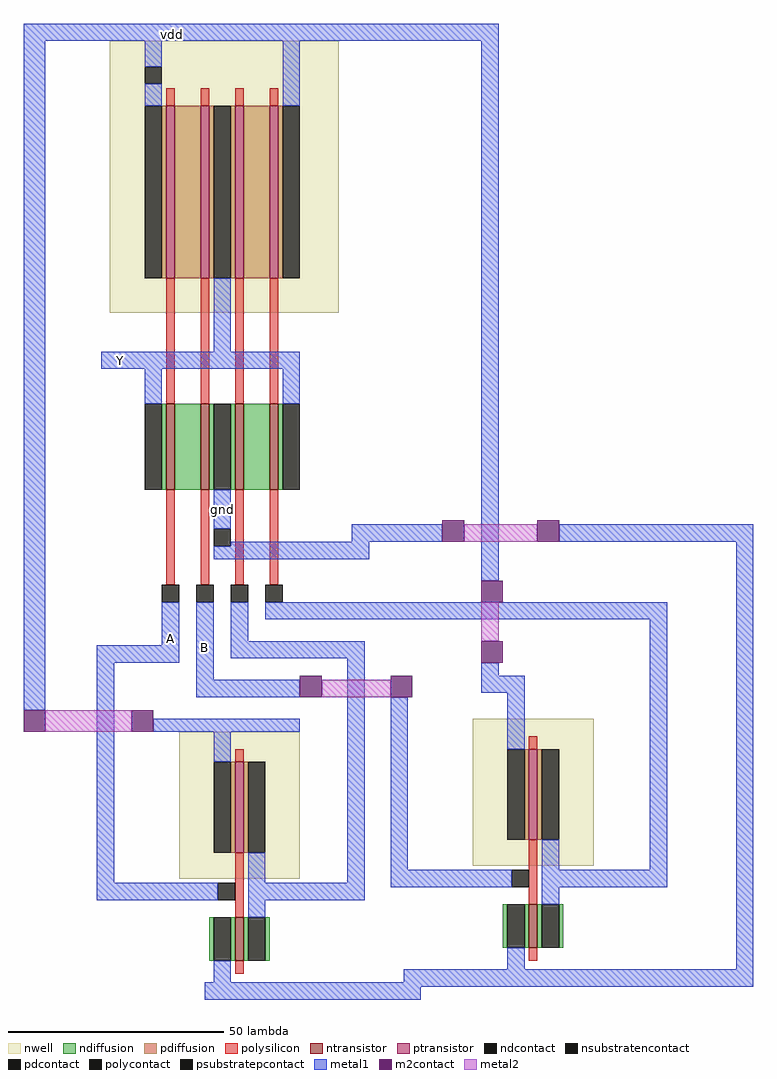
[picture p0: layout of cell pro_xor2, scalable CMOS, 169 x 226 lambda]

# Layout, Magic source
magic
tech scmos
<< nwell >>
rect -8 -8 45 55
rect 8 -139 36 -105
rect 76 -136 104 -102
<< ntransistor >>
rect 5 -49 7 -29
rect 13 -49 15 -29
rect 21 -49 23 -29
rect 29 -49 31 -29
rect 21 -158 23 -148
rect 89 -155 91 -145
<< ptransistor >>
rect 5 0 7 40
rect 13 0 15 40
rect 21 0 23 40
rect 29 0 31 40
rect 21 -133 23 -112
rect 89 -130 91 -109
<< ndiffusion >>
rect 4 -49 5 -29
rect 7 -49 13 -29
rect 15 -49 16 -29
rect 20 -49 21 -29
rect 23 -49 29 -29
rect 31 -49 32 -29
rect 15 -158 16 -148
rect 20 -158 21 -148
rect 23 -158 24 -148
rect 28 -158 29 -148
rect 83 -155 84 -145
rect 88 -155 89 -145
rect 91 -155 92 -145
rect 96 -155 97 -145
<< pdiffusion >>
rect 4 0 5 40
rect 7 0 13 40
rect 15 0 16 40
rect 20 0 21 40
rect 23 0 29 40
rect 31 0 32 40
rect 20 -133 21 -112
rect 23 -133 24 -112
rect 88 -130 89 -109
rect 91 -130 92 -109
<< ndcontact >>
rect 0 -49 4 -29
rect 16 -49 20 -29
rect 32 -49 36 -29
rect 16 -158 20 -148
rect 24 -158 28 -148
rect 84 -155 88 -145
rect 92 -155 96 -145
<< pdcontact >>
rect 0 0 4 40
rect 16 0 20 40
rect 32 0 36 40
rect 16 -133 20 -112
rect 24 -133 28 -112
rect 84 -130 88 -109
rect 92 -130 96 -109
<< psubstratepcontact >>
rect 16 -62 20 -58
<< nsubstratencontact >>
rect 0 45 4 49
<< polysilicon >>
rect 5 40 7 44
rect 13 40 15 44
rect 21 40 23 44
rect 29 40 31 44
rect 5 -29 7 0
rect 13 -29 15 0
rect 21 -29 23 0
rect 29 -29 31 0
rect 5 -71 7 -49
rect 13 -71 15 -49
rect 21 -71 23 -49
rect 29 -71 31 -49
rect 89 -109 91 -106
rect 21 -112 23 -109
rect 21 -148 23 -133
rect 89 -145 91 -130
rect 89 -158 91 -155
rect 21 -161 23 -158
<< polycontact >>
rect 4 -75 8 -71
rect 12 -75 16 -71
rect 20 -75 24 -71
rect 28 -75 32 -71
rect 17 -144 21 -140
rect 85 -141 89 -137
<< metal1 >>
rect -28 55 82 59
rect -28 -100 -23 55
rect 0 49 4 55
rect 0 40 4 45
rect 32 40 36 55
rect 16 -17 20 0
rect -10 -21 36 -17
rect 0 -29 4 -21
rect 32 -29 36 -21
rect 16 -58 20 -49
rect 48 -61 69 -57
rect 20 -62 52 -61
rect 16 -65 52 -62
rect 78 -70 82 55
rect 96 -61 141 -57
rect 4 -85 8 -75
rect -11 -89 8 -85
rect -11 -140 -7 -89
rect 12 -93 16 -75
rect 20 -84 24 -75
rect 28 -79 121 -75
rect 20 -88 51 -84
rect 12 -97 36 -93
rect 2 -105 36 -102
rect 16 -112 20 -105
rect 24 -140 28 -133
rect 47 -140 51 -88
rect 78 -92 82 -89
rect -11 -144 17 -140
rect 24 -144 51 -140
rect 78 -96 88 -92
rect 57 -137 61 -97
rect 84 -109 88 -96
rect 92 -137 96 -130
rect 117 -137 121 -79
rect 57 -141 85 -137
rect 92 -141 121 -137
rect 24 -148 28 -144
rect 92 -145 96 -141
rect 16 -163 20 -158
rect 84 -160 88 -155
rect 137 -160 141 -61
rect 60 -163 141 -160
rect 14 -164 141 -163
rect 14 -167 64 -164
<< m2contact >>
rect 69 -61 74 -56
rect 91 -61 96 -56
rect -28 -105 -23 -100
rect 78 -75 83 -70
rect 36 -97 41 -92
rect -3 -105 2 -100
rect 78 -89 83 -84
rect 57 -97 62 -92
<< metal2 >>
rect 74 -61 91 -57
rect 78 -84 82 -75
rect 41 -97 57 -93
rect -23 -105 -3 -100
<< labels >>
rlabel metal1 4 -88 8 -79 1 A
rlabel metal1 13 -90 15 -81 1 B
rlabel metal1 16 -55 20 -52 1 gnd
rlabel metal1 2 55 11 58 5 vdd
rlabel metal1 -9 -21 -2 -17 1 Y
<< end >>
